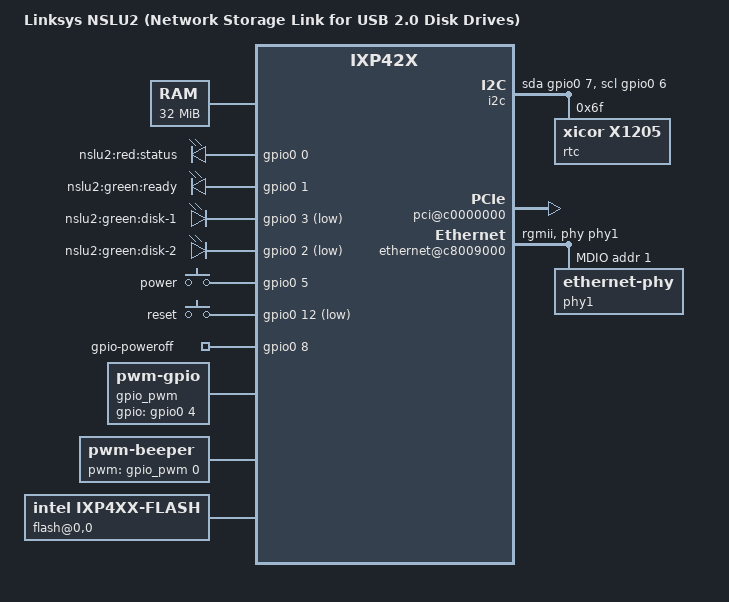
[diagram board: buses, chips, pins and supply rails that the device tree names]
// SPDX-License-Identifier: ISC
/*
 * Device Tree file for Linksys NSLU2
 */

/dts-v1/;

#include "intel-ixp42x.dtsi"
#include <dt-bindings/input/input.h>

/ {
	model = "Linksys NSLU2 (Network Storage Link for USB 2.0 Disk Drives)";
	compatible = "linksys,nslu2", "intel,ixp42x";
	#address-cells = <1>;
	#size-cells = <1>;

	memory@0 {
		/* 32 MB SDRAM */
		device_type = "memory";
		reg = <0x00000000 0x2000000>;
	};

	chosen {
		bootargs = "console=ttyS0,115200n8 root=/dev/mtdblock2 rw rootfstype=squashfs,jffs2 rootwait";
		stdout-path = "uart0:115200n8";
	};

	aliases {
		serial0 = &uart0;
	};

	leds {
		compatible = "gpio-leds";
		led-status {
			label = "nslu2:red:status";
			gpios = <&gpio0 0 GPIO_ACTIVE_HIGH>;
			default-state = "on";
			linux,default-trigger = "heartbeat";
		};
		led-ready {
			label = "nslu2:green:ready";
			gpios = <&gpio0 1 GPIO_ACTIVE_HIGH>;
			default-state = "on";
		};
		led-disk-1 {
			label = "nslu2:green:disk-1";
			gpios = <&gpio0 3 GPIO_ACTIVE_LOW>;
			default-state = "off";
		};
		led-disk-2 {
			label = "nslu2:green:disk-2";
			gpios = <&gpio0 2 GPIO_ACTIVE_LOW>;
			default-state = "off";
		};
	};

	gpio_keys {
		compatible = "gpio-keys";

		button-power {
			wakeup-source;
			linux,code = <KEY_POWER>;
			label = "power";
			gpios = <&gpio0 5 GPIO_ACTIVE_HIGH>;
		};
		button-reset {
			wakeup-source;
			linux,code = <KEY_RESTART>;
			label = "reset";
			gpios = <&gpio0 12 GPIO_ACTIVE_LOW>;
		};
	};

	i2c {
		compatible = "i2c-gpio";
		sda-gpios = <&gpio0 7 (GPIO_ACTIVE_HIGH|GPIO_OPEN_DRAIN)>;
		scl-gpios = <&gpio0 6 (GPIO_ACTIVE_HIGH|GPIO_OPEN_DRAIN)>;
		#address-cells = <1>;
		#size-cells = <0>;

		rtc@6f {
			compatible = "xicor,x1205";
			reg = <0x6f>;
		};
	};

	gpio-poweroff {
		compatible = "gpio-poweroff";
		gpios = <&gpio0 8 GPIO_ACTIVE_HIGH>;
		timeout-ms = <5000>;
	};

	gpio_pwm: pwm {
		#pwm-cells = <3>;
		compatible = "pwm-gpio";
		gpios = <&gpio0 4 GPIO_ACTIVE_HIGH>;
	};

	beeper {
		compatible = "pwm-beeper";
		pwms = <&gpio_pwm 0 1 0>;
		beeper-hz = <1000>;
	};

	soc {
		bus@c4000000 {
			/* The first 16MB region at CS0 on the expansion bus */
			flash@0,0 {
				compatible = "intel,ixp4xx-flash", "cfi-flash";
				bank-width = <2>;
				/* Enable writes on the expansion bus */
				intel,ixp4xx-eb-write-enable = <1>;
				/*
				 * 8 MB of Flash in 0x20000 byte blocks
				 * mapped in at CS0.
				 */
				reg = <0 0x00000000 0x800000>;

				partitions {
					compatible = "redboot-fis";
					/* Eraseblock at 0x7e0000 */
					fis-index-block = <0x3f>;
				};
			};
		};

		pci@c0000000 {
			status = "okay";

			/*
			 * Taken from NSLU2 PCI boardfile, INT A, B, C swizzled D constant
			 * We have slots (IDSEL) 1, 2 and 3.
			 */
			#interrupt-cells = <1>;
			interrupt-map-mask = <0xf800 0 0 7>;
			interrupt-map =
			/* IDSEL 1 */
			<0x0800 0 0 1 &gpio0 11 IRQ_TYPE_LEVEL_LOW>, /* INT A on slot 1 is irq 11 */
			<0x0800 0 0 2 &gpio0 10 IRQ_TYPE_LEVEL_LOW>, /* INT B on slot 1 is irq 10 */
			<0x0800 0 0 3 &gpio0 9  IRQ_TYPE_LEVEL_LOW>, /* INT C on slot 1 is irq 9 */
			<0x0800 0 0 4 &gpio0 8  IRQ_TYPE_LEVEL_LOW>, /* INT D on slot 1 is irq 8 */
			/* IDSEL 2 */
			<0x1000 0 0 1 &gpio0 10 IRQ_TYPE_LEVEL_LOW>, /* INT A on slot 2 is irq 10 */
			<0x1000 0 0 2 &gpio0 9  IRQ_TYPE_LEVEL_LOW>, /* INT B on slot 2 is irq 9 */
			<0x1000 0 0 3 &gpio0 11 IRQ_TYPE_LEVEL_LOW>, /* INT C on slot 2 is irq 11 */
			<0x1000 0 0 4 &gpio0 8  IRQ_TYPE_LEVEL_LOW>, /* INT D on slot 2 is irq 8 */
			/* IDSEL 3 */
			<0x1800 0 0 1 &gpio0 9  IRQ_TYPE_LEVEL_LOW>, /* INT A on slot 3 is irq 9 */
			<0x1800 0 0 2 &gpio0 11 IRQ_TYPE_LEVEL_LOW>, /* INT B on slot 3 is irq 11 */
			<0x1800 0 0 3 &gpio0 10 IRQ_TYPE_LEVEL_LOW>, /* INT C on slot 3 is irq 10 */
			<0x1800 0 0 4 &gpio0 8  IRQ_TYPE_LEVEL_LOW>; /* INT D on slot 3 is irq 8 */
		};

		ethernet@c8009000 {
			status = "okay";
			queue-rx = <&qmgr 3>;
			queue-txready = <&qmgr 20>;
			phy-mode = "rgmii";
			phy-handle = <&phy1>;

			mdio {
				#address-cells = <1>;
				#size-cells = <0>;

				phy1: ethernet-phy@1 {
					reg = <1>;
				};
			};
		};
	};
};
